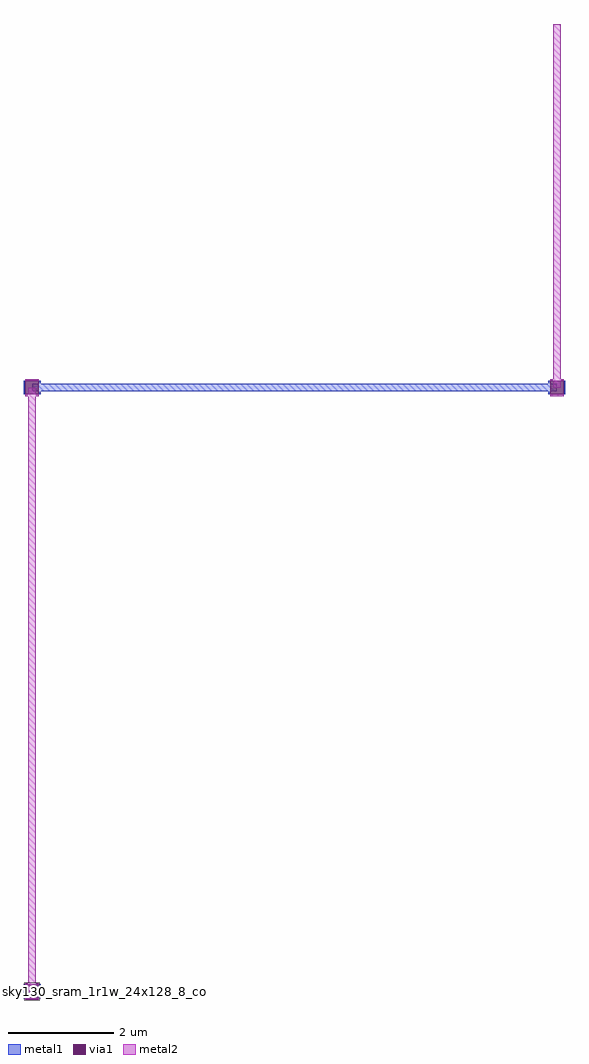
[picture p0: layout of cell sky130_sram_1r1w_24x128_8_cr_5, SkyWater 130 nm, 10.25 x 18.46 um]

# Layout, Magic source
magic
tech sky130B
magscale 1 2
<< metal1 >>
rect 51228 38563 53213 38591
rect 51196 36268 51260 36320
<< metal2 >>
rect 53199 38577 53227 39952
rect 51214 36294 51242 38577
use sky130_sram_1r1w_24x128_8_contact_13  sky130_sram_1r1w_24x128_8_contact_13_0
transform 1 0 51199 0 1 36261
box 0 0 58 66
use sky130_sram_1r1w_24x128_8_contact_18  sky130_sram_1r1w_24x128_8_contact_18_0
transform 1 0 53181 0 1 38545
box 0 0 64 64
use sky130_sram_1r1w_24x128_8_contact_18  sky130_sram_1r1w_24x128_8_contact_18_1
transform 1 0 51196 0 1 36262
box 0 0 64 64
use sky130_sram_1r1w_24x128_8_contact_18  sky130_sram_1r1w_24x128_8_contact_18_2
transform 1 0 51196 0 1 38545
box 0 0 64 64
<< properties >>
string FIXED_BBOX 51196 36261 53245 39952
<< end >>

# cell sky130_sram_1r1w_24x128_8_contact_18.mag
magic
tech sky130B
<< metal1 >>
rect 0 3 3 29
rect 29 3 32 29
<< via1 >>
rect 3 3 29 29
<< metal2 >>
rect 3 29 29 32
rect 3 0 29 3
<< properties >>
string FIXED_BBOX 0 0 32 32
<< end >>
